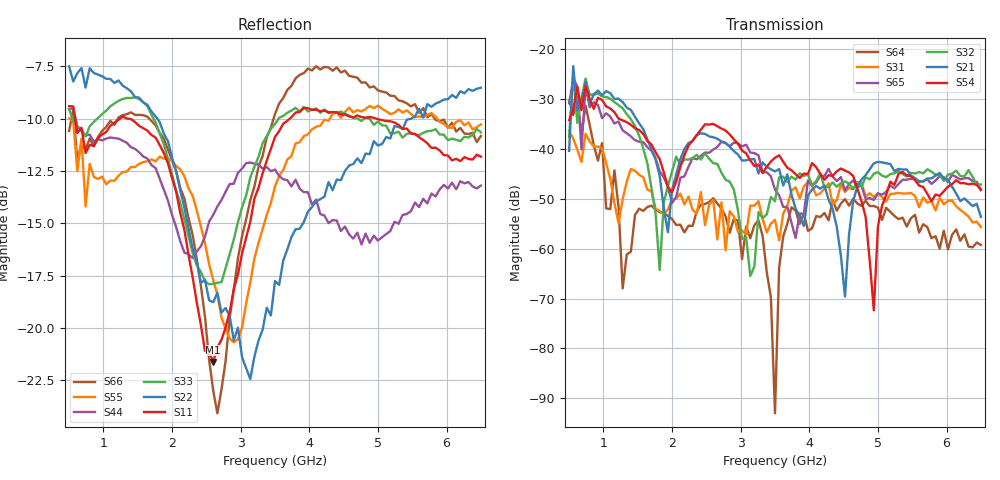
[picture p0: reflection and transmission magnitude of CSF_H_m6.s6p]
!Keysight Technologies,M9804A,MY58100912,A.14.10.03
!Date: Thursday, April 27, 2023 10:28:33
!Correction: S11(C  6-Port  )
!S12(C  6-Port  )
!S13(C  6-Port  )
!S14(C  6-Port  )
!S15(C  6-Port  )
!S16(C  6-Port  )
!S21(C  6-Port  )
!S22(C  6-Port  )
!S23(C  6-Port  )
!S24(C  6-Port  )
!S25(C  6-Port  )
!S26(C  6-Port  )
!S31(C  6-Port  )
!S32(C  6-Port  )
!S33(C  6-Port  )
!S34(C  6-Port  )
!S35(C  6-Port  )
!S36(C  6-Port  )
!S41(C  6-Port  )
!S42(C  6-Port  )
!S43(C  6-Port  )
!S44(C  6-Port  )
!S45(C  6-Port  )
!S46(C  6-Port  )
!S51(C  6-Port  )
!S52(C  6-Port  )
!S53(C  6-Port  )
!S54(C  6-Port  )
!S55(C  6-Port  )
!S56(C  6-Port  )
!S61(C  6-Port  )
!S62(C  6-Port  )
!S63(C  6-Port  )
!S64(C  6-Port  )
!S65(C  6-Port  )
!S66(C  6-Port  )
!S6P File: Measurement: :
# Hz S  RI  R 50
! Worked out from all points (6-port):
!   101 points, 500 MHz to 6.5 GHz, reference 50 ohm
!   strongest paths, dB at 500 MHz, 2 GHz, 3.5 GHz, 5 GHz, 6.5 GHz:
!     S54: -34.2, -48.6, -41.7, -55.5, -48.1
!     S21: -40.4, -48.2, -44.5, -42.6, -53.6
!     S32: -37.6, -44.5, -50.5, -44.6, -47.1
!     S65: -30.8, -50.8, -48.1, -48.9, -48.3
!     S31: -36.4, -50.2, -54.2, -48.9, -55.6
!     S64: -30.2, -54.0, -93.0, -51.8, -59.2
!   lowest |S11| = -21.6 dB at 2.6 GHz (marker M1), VSWR 1.18, Z = 42.6 + j2.03 ohm
!   |S11| at or under -10 dB: 587.8 MHz to 1.241 GHz (653 MHz wide, 71.4 % of centre); 1.358 GHz to 3.715 GHz (2.357 GHz wide, 92.9 % of centre); 4.975 GHz to end of sweep
